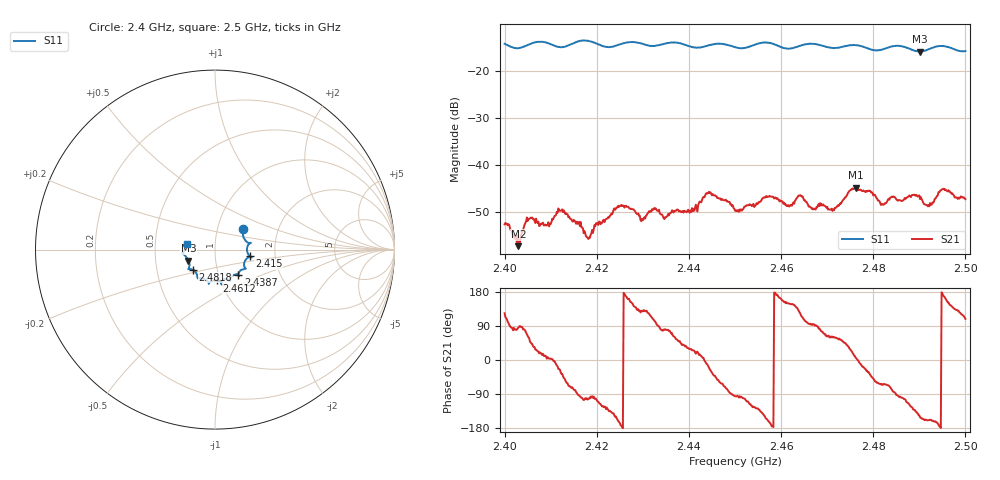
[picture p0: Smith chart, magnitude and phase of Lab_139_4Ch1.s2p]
# Hz S RI R 50
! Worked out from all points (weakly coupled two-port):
!   601 points, 2.4 GHz to 2.5 GHz, reference 50 ohm
!   highest |S21| = -44.87 dB at 2.4762 GHz (marker M1); lowest = -57.3 dB at 2.403 GHz (marker M2)
!   lowest |S11| = -15.9 dB at 2.4902 GHz (marker M3), VSWR 1.38, Z = 36.9 - j4.61 ohm
!   |S11| at or under -10 dB: start of sweep to end of sweep
!   S12 and S22 are empty: the file has one direction only
!   S11 on the Smith chart (normalised r, x): 2.4 GHz: 1.33, +0.31; 2.415 GHz: 1.47, -0.11; 2.4387 GHz: 1.24, -0.36; 2.4612 GHz: 0.96, -0.34; 2.4818 GHz: 0.76, -0.17; 2.5 GHz: 0.73, +0.05
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2.4e9  0.1571 0.1123  -0.00128 0.00195  0 0  0 0
2.403e9  0.162 0.062  9.75e-05 0.00136  0 0  0 0
2.405333e9  0.1866 0.0369  0.00142 0.00227  0 0  0 0
2.412167e9  0.1777 0.00261  0.00276 -0.00173  0 0  0 0
2.415e9  0.1928 -0.0367  0.000535 -0.00255  0 0  0 0
2.416667e9  0.2039 -0.0439  -0.000365 -0.00214  0 0  0 0
2.418167e9  0.2033 -0.0415  -0.000365 -0.00159  0 0  0 0
2.425167e9  0.1647 -0.0979  -0.00364 -0.000517  0 0  0 0
2.43e9  0.1587 -0.1088  -0.00159 0.00203  0 0  0 0
2.433333e9  0.1317 -0.1318  -2.06e-05 0.00325  0 0  0 0
2.438667e9  0.1304 -0.1407  0.00245 0.00212  0 0  0 0
2.444167e9  0.0848 -0.1648  0.00484 -0.00133  0 0  0 0
2.45e9  0.0687 -0.1643  -0.000306 -0.00326  0 0  0 0
2.461167e9  0.00957 -0.1716  -0.00325 0.00171  0 0  0 0
2.464167e9  -0.029 -0.182  -0.00258 0.004  0 0  0 0
2.466667e9  -0.0349 -0.1905  -0.000244 0.0034  0 0  0 0
2.4715e9  -0.0606 -0.1632  0.00164 0.00286  0 0  0 0
2.476167e9  -0.0961 -0.1603  0.00568 0.000623  0 0  0 0
2.481833e9  -0.1245 -0.1117  0.00176 -0.00343  0 0  0 0
2.483333e9  -0.1399 -0.1082  0.0017 -0.00402  0 0  0 0
2.490167e9  -0.1478 -0.0609  -0.00379 -0.00208  0 0  0 0
2.5e9  -0.1583 0.0328  -0.00137 0.00409  0 0  0 0
